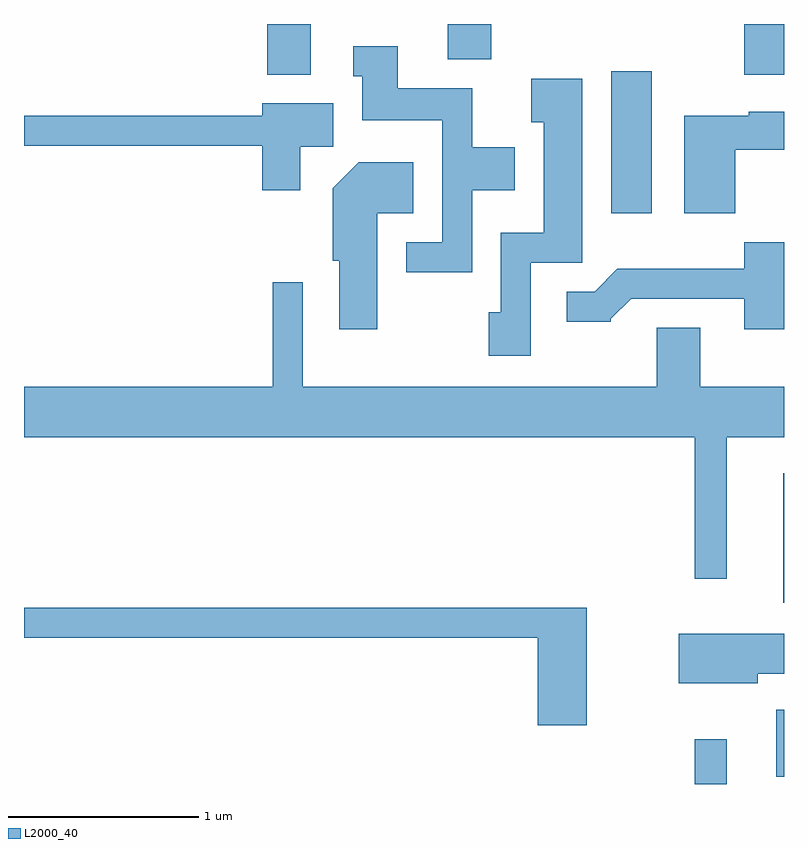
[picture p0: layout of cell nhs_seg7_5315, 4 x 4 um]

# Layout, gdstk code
import gdstk
lib = gdstk.Library(unit=1e-6, precision=1e-09)
def R(c, l, rs):  # rectangles x0, y0, x1, y1
    for r in rs: c.add(gdstk.rectangle(r[:2], r[2:], *l))
def P(c, l, *ps):  # polygons
    for p in ps: c.add(gdstk.Polygon(p, *l))
L2000_40 = (2000, 40)

nhs_seg7_5315 = lib.new_cell('nhs_seg7_5315')
R(nhs_seg7_5315, L2000_40, [(351.141,1730.252,351.309,1730.488), (351.571,1730.291,351.611,1730.644), (351.606,1731.206,351.611,1731.888), (350.701,1733.256,350.914,1734.004), (348.891,1733.986,349.119,1734.252), (351.401,1733.986,351.611,1734.252), (349.841,1734.066,350.069,1734.252)])
P(nhs_seg7_5315, L2000_40, [(349.969,1733.376),(350.194,1733.376),(350.194,1733.604),(349.969,1733.604),(349.969,1733.914),(349.579,1733.914),(349.579,1734.134),(349.343,1734.134),(349.343,1733.976),(349.391,1733.976),(349.391,1733.746),(349.811,1733.746),(349.811,1733.104),(349.623,1733.104),(349.623,1732.946),(349.969,1732.946)],
  [(350.279,1732.996),(350.549,1732.996),(350.549,1733.964),(350.281,1733.964),(350.281,1733.736),(350.346,1733.736),(350.346,1733.154),(350.121,1733.154),(350.121,1732.734),(350.056,1732.734),(350.056,1732.506),(350.279,1732.506)],
  [(349.064,1733.606),(349.239,1733.606),(349.239,1733.834),(348.866,1733.834),(348.866,1733.769),(347.611,1733.769),(347.611,1733.611),(348.866,1733.611),(348.866,1733.376),(349.064,1733.376)],
  [(351.354,1733.591),(351.611,1733.591),(351.611,1733.789),(351.426,1733.789),(351.426,1733.769),(351.086,1733.769),(351.086,1733.256),(351.354,1733.256)],
  [(349.469,1733.256),(349.659,1733.256),(349.659,1733.524),(349.374,1733.524),(349.236,1733.387),(349.236,1733.006),(349.271,1733.006),(349.271,1732.646),(349.469,1732.646)],
  [(351.611,1733.104),(351.401,1733.104),(351.401,1732.964),(350.734,1732.964),(350.614,1732.844),(350.468,1732.844),(350.468,1732.686),(350.7,1732.686),(350.7,1732.7),(350.807,1732.806),(351.401,1732.806),(351.401,1732.646),(351.611,1732.646)],
  [(351.309,1732.076),(351.611,1732.076),(351.611,1732.344),(351.169,1732.344),(351.169,1732.654),(350.941,1732.654),(350.941,1732.344),(349.079,1732.344),(349.079,1732.893),(348.921,1732.893),(348.921,1732.344),(347.611,1732.344),(347.611,1732.076),(351.141,1732.076),(351.141,1731.333),(351.309,1731.333)],
  [(350.574,1731.179),(347.611,1731.179),(347.611,1731.021),(350.316,1731.021),(350.316,1730.561),(350.574,1730.561)],
  [(351.474,1730.831),(351.611,1730.831),(351.611,1731.044),(351.056,1731.044),(351.056,1730.781),(351.474,1730.781)])

lib.write_gds('nhs_seg7_5315.gds')
